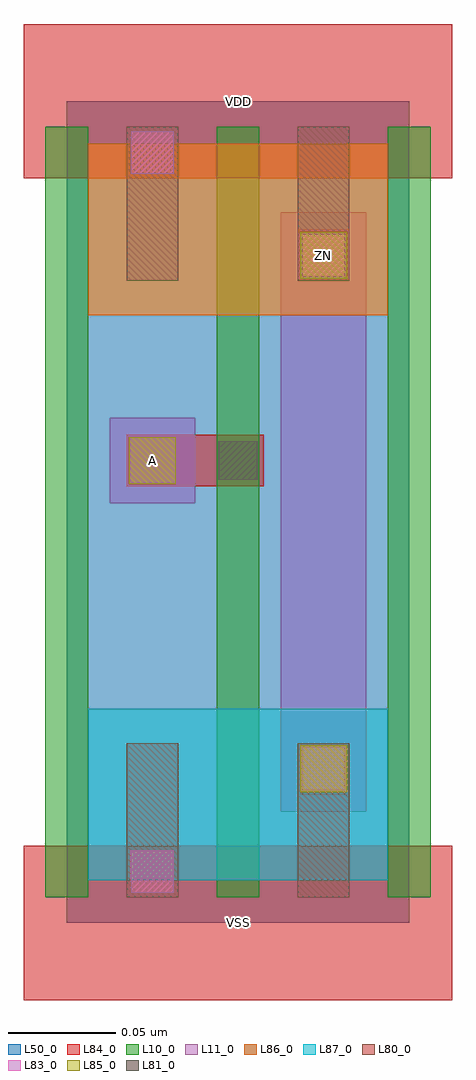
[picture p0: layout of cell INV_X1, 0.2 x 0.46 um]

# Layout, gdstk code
import gdstk
lib = gdstk.Library(unit=1e-6, precision=1e-09)
def R(c, l, rs):  # rectangles x0, y0, x1, y1
    for r in rs: c.add(gdstk.rectangle(r[:2], r[2:], *l))
def A(c, l, x, y, w, h, nx, ny, dx, dy):  # array of equal rectangles
    R(c, l, [(x+i*dx, y+j*dy, x+i*dx+w, y+j*dy+h) for i in range(nx) for j in range(ny)])
L10_0 = (10, 0)
L11_0 = (11, 0)
L50_0 = (50, 0)
L80_0 = (80, 0)
L81_0 = (81, 0)
L83_0 = (83, 0)
L84_0 = (84, 0)
L85_0 = (85, 0)
L86_0 = (86, 0)
L87_0 = (87, 0)

inv_x1 = lib.new_cell('INV_X1')
A(inv_x1, L10_0, -0.01, 0.012, 0.02, 0.36, 3, 1, 0.08, 0)
R(inv_x1, L11_0, [(0.1,0.052,0.14,0.332), (0.02,0.196,0.06,0.236)])
R(inv_x1, L50_0, [(0,0,0.16,0.384)])
R(inv_x1, L80_0, [(0.028,0.012,0.052,0.084), (0.108,0.012,0.132,0.084), (0.028,0.3,0.052,0.372), (0.108,0.3,0.132,0.372)])
R(inv_x1, L81_0, [(0.071,0.207,0.089,0.225)])
R(inv_x1, L83_0, [(0.03,0.014,0.05,0.034), (0.11,0.062,0.13,0.082), (0.11,0.302,0.13,0.322), (0.03,0.35,0.05,0.37)])
R(inv_x1, L84_0, [(-0.02,-0.036,0.18,0.036), (0.108,0.06,0.132,0.084), (0.028,0.204,0.092,0.228), (0.108,0.3,0.132,0.324), (-0.02,0.348,0.18,0.42)])
R(inv_x1, L85_0, [(0.109,0.061,0.131,0.083), (0.029,0.205,0.051,0.227), (0.109,0.301,0.131,0.323)])
R(inv_x1, L86_0, [(0.01,0.284,0.15,0.364)])
R(inv_x1, L87_0, [(0.01,0.02,0.15,0.1)])
inv_x1.add(gdstk.Label('VDD', (0.08,0.384), layer=88, texttype=0))
inv_x1.add(gdstk.Label('VSS', (0.08,0), layer=88, texttype=0))
inv_x1.add(gdstk.Label('ZN', (0.12,0.312), layer=31, texttype=0))
inv_x1.add(gdstk.Label('A', (0.04,0.216), layer=31, texttype=0))

lib.write_gds('INV_X1.gds')
